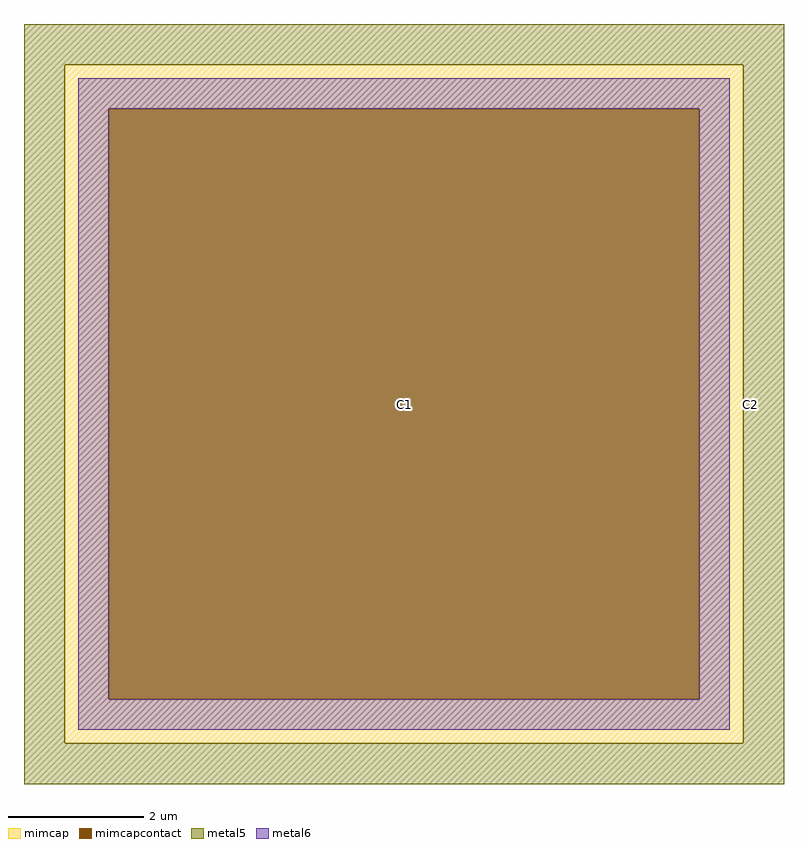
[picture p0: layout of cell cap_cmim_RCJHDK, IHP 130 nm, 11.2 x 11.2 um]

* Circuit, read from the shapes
.subckt cap_cmim_RCJHDK C1 C2
XC1 C1 C2 cap_cmim w=10u l=10u
.ends

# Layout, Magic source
magic
tech ihp-sg13g2
<< metal5 >>
rect -560 500 560 560
rect -560 -500 -500 500
rect 500 -500 560 500
rect -560 -560 560 -500
<< mimcap >>
rect -500 435 500 500
rect -500 -435 -435 435
rect 435 -435 500 435
rect -500 -500 500 -435
<< mimcapcontact >>
rect -435 -435 435 435
<< metal6 >>
rect -480 435 480 480
rect -480 -435 -435 435
rect 435 -435 480 435
rect -480 -480 480 -435
<< labels >>
rlabel metal6 s 0 0 0 0 4 C1
rlabel metal5 s 510 0 510 0 4 C2
<< properties >>
string FIXED_BBOX -560 -560 560 560
<< end >>
